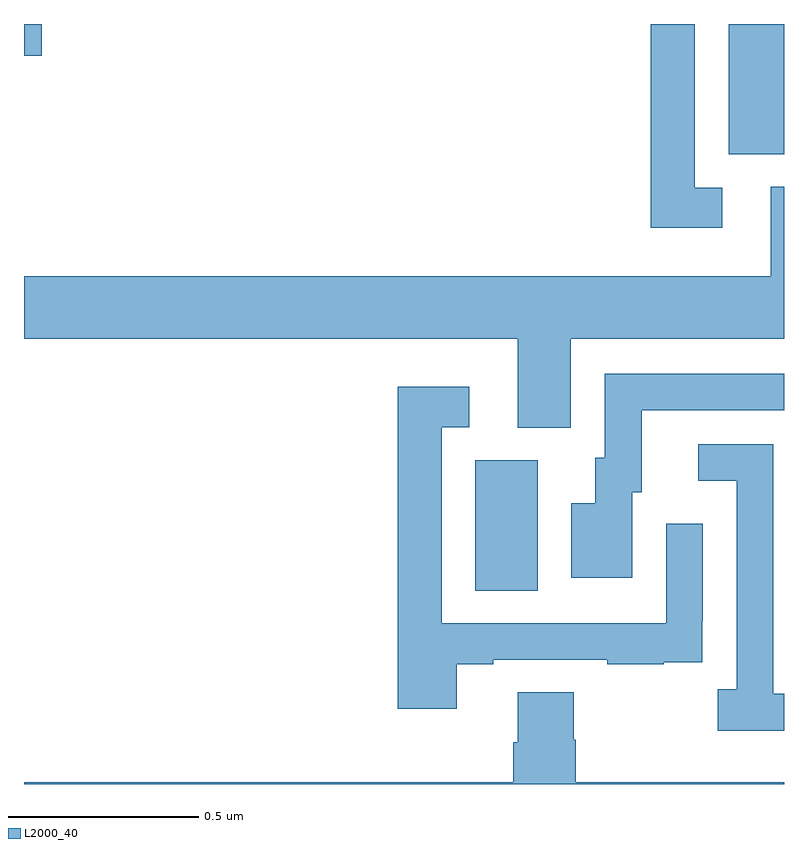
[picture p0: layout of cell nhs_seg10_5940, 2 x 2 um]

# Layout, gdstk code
import gdstk
lib = gdstk.Library(unit=1e-6, precision=1e-09)
def R(c, l, rs):  # rectangles x0, y0, x1, y1
    for r in rs: c.add(gdstk.rectangle(r[:2], r[2:], *l))
def P(c, l, *ps):  # polygons
    for p in ps: c.add(gdstk.Polygon(p, *l))
L2000_40 = (2000, 40)

nhs_seg10_5940 = lib.new_cell('nhs_seg10_5940')
R(nhs_seg10_5940, L2000_40, [(186.188,1277.008,186.352,1277.352), (186.854,1278.157,187,1278.5), (185,1278.416,185.047,1278.5)])
P(nhs_seg10_5940, L2000_40, [(186.838,1278.069),(186.765,1278.069),(186.765,1278.5),(186.649,1278.5),(186.649,1277.964),(186.838,1277.964)],
  [(186.439,1277.672),(187,1277.672),(187,1278.072),(186.965,1278.072),(186.965,1277.836),(185,1277.836),(185,1277.672),(186.299,1277.672),(186.299,1277.437),(186.439,1277.437)],
  [(186.601,1277.268),(186.625,1277.268),(186.625,1277.484),(187,1277.484),(187,1277.58),(186.528,1277.58),(186.528,1277.358),(186.503,1277.358),(186.503,1277.239),(186.44,1277.239),(186.44,1277.043),(186.601,1277.043)],
  [(186.139,1276.815),(186.235,1276.815),(186.235,1276.827),(186.535,1276.827),(186.535,1276.815),(186.683,1276.815),(186.683,1276.821),(186.785,1276.821),(186.785,1276.93),(186.786,1276.93),(186.786,1277.185),(186.69,1277.185),(186.69,1276.923),(186.099,1276.923),(186.099,1277.439),(186.172,1277.439),(186.172,1277.545),(185.983,1277.545),(185.983,1276.698),(186.139,1276.698)],
  [(187,1276.737),(186.972,1276.737),(186.972,1277.394),(186.774,1277.394),(186.774,1277.298),(186.876,1277.298),(186.876,1276.75),(186.825,1276.75),(186.825,1276.64),(187,1276.64)],
  [(187,1276.504),(186.452,1276.504),(186.452,1276.617),(186.447,1276.617),(186.447,1276.742),(186.299,1276.742),(186.299,1276.61),(186.287,1276.61),(186.287,1276.504),(185,1276.504),(185,1276.5),(187,1276.5)])

lib.write_gds('nhs_seg10_5940.gds')
